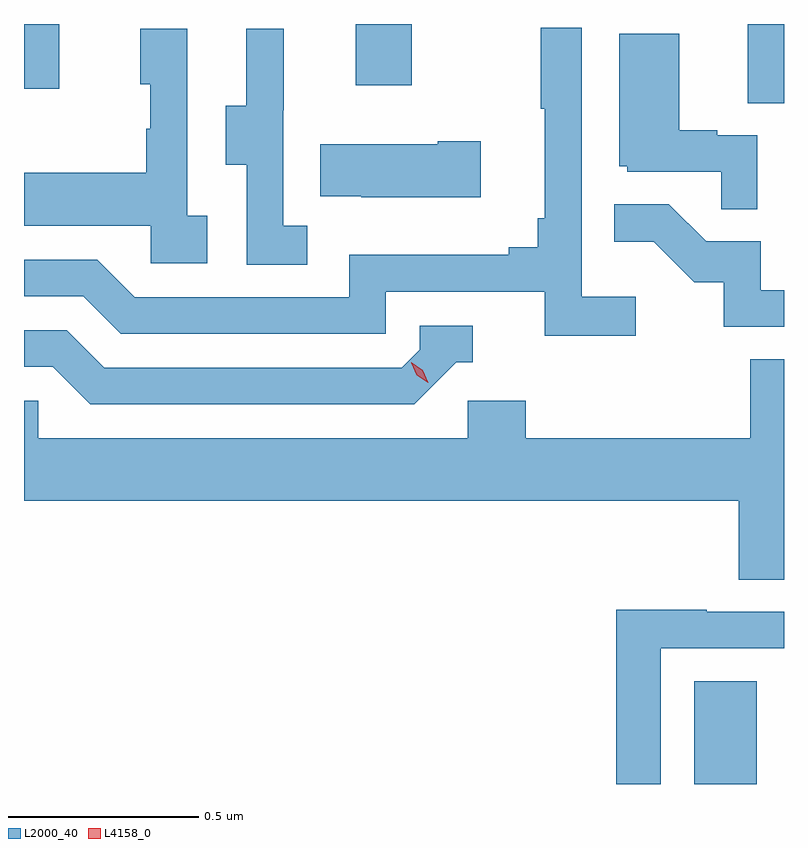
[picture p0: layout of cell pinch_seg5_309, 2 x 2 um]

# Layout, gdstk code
import gdstk
lib = gdstk.Library(unit=1e-6, precision=1e-09)
def R(c, l, rs):  # rectangles x0, y0, x1, y1
    for r in rs: c.add(gdstk.rectangle(r[:2], r[2:], *l))
def P(c, l, *ps):  # polygons
    for p in ps: c.add(gdstk.Polygon(p, *l))
L2000_40 = (2000, 40)
L4158_0 = (4158, 0)

pinch_seg5_309 = lib.new_cell('pinch_seg5_309')
R(pinch_seg5_309, L2000_40, [(890.372,873.33,890.536,873.601), (890.513,875.122,890.608,875.33), (888.608,875.16,888.701,875.33), (889.481,875.169,889.629,875.33)])
P(pinch_seg5_309, L2000_40, [(890.218,874.612),(890.076,874.612),(890.076,875.32),(889.968,875.32),(889.968,875.107),(889.979,875.107),(889.979,874.819),(889.96,874.819),(889.96,874.742),(889.883,874.742),(889.883,874.723),(889.464,874.723),(889.464,874.611),(888.9,874.611),(888.801,874.71),(888.608,874.71),(888.608,874.614),(888.764,874.614),(888.863,874.515),(889.56,874.515),(889.56,874.626),(889.979,874.626),(889.979,874.51),(890.218,874.51)],
  [(889.09,874.826),(889.038,874.826),(889.038,875.317),(888.914,875.317),(888.914,875.172),(888.94,875.172),(888.94,875.054),(888.93,875.054),(888.93,874.939),(888.608,874.939),(888.608,874.799),(888.942,874.799),(888.942,874.701),(889.09,874.701)],
  [(889.354,874.799),(889.29,874.799),(889.29,875.103),(889.292,875.103),(889.292,875.317),(889.193,875.317),(889.193,875.115),(889.139,875.115),(889.139,874.96),(889.194,874.96),(889.194,874.696),(889.354,874.696)],
  [(890.538,875.037),(890.432,875.037),(890.432,875.05),(890.332,875.05),(890.332,875.305),(890.174,875.305),(890.174,874.956),(890.196,874.956),(890.196,874.941),(890.443,874.941),(890.443,874.843),(890.538,874.843)],
  [(889.81,875.022),(889.697,875.022),(889.697,875.014),(889.387,875.014),(889.387,874.877),(889.495,874.877),(889.495,874.874),(889.81,874.874)],
  [(890.608,874.629),(890.547,874.629),(890.547,874.758),(890.403,874.758),(890.305,874.856),(890.161,874.856),(890.161,874.757),(890.265,874.757),(890.372,874.65),(890.449,874.65),(890.449,874.533),(890.608,874.533)],
  [(889.746,874.44),(889.789,874.44),(889.789,874.536),(889.65,874.536),(889.65,874.473),(889.602,874.425),(888.819,874.425),(888.72,874.524),(888.608,874.524),(888.608,874.428),(888.683,874.428),(888.782,874.329),(889.635,874.329)],
  [(890.608,874.448),(890.519,874.448),(890.519,874.24),(889.928,874.24),(889.928,874.338),(889.776,874.338),(889.776,874.24),(888.645,874.24),(888.645,874.338),(888.608,874.338),(888.608,874.076),(890.489,874.076),(890.489,873.868),(890.608,873.868)],
  [(890.283,873.687),(890.608,873.687),(890.608,873.783),(890.405,873.783),(890.405,873.788),(890.167,873.788),(890.167,873.33),(890.283,873.33)])
P(pinch_seg5_309, L4158_0, [(889.672,874.386),(889.642,874.406),(889.627,874.439),(889.627,874.44),(889.627,874.44),(889.657,874.419),(889.672,874.386),(889.672,874.386)])

lib.write_gds('pinch_seg5_309.gds')
